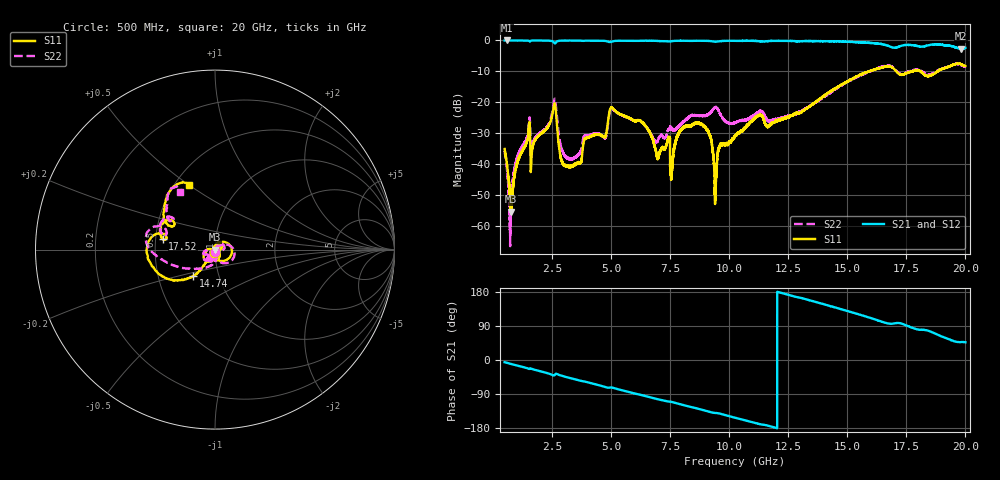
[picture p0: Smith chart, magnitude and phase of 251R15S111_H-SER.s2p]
!{251R15S111}
!Johanson Technology Inc.
!www.johansontechnology.com
!Test Board Conditions:
!Substrate Type  RO4350B
!Substrate Thickness  20 mil
!Substrate Dk  3.66
!TL Type: GCPW
!TL Trace Width  34 mil
!TL Gap  10 mil
!Electrode orientation  Horizontal
!DUT TOPOLOGY	SERIES
!Mounting Pad LxW  26x52 mil
! Created Thu Mar 12 16:47:16 2020
# mhz S ma R 50
! 2 Port Network Data from SP1.SP block
! freq  magS11  angS11  magS21  angS21  magS12  angS12  magS22  angS22
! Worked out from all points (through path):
!   19501 points, 500 MHz to 20 GHz, reference 50 ohm
!   highest |S21| = 0.00 dB at 605 MHz (marker M1); lowest = -2.7 dB at 19.8 GHz (marker M2)
!   group delay of S21, straight-line fit = 43.7 ps
!   lowest |S11| = -55.5 dB at 765 MHz (marker M3), VSWR 1.00, Z = 49.8 - j0.00368 ohm
!   |S11| at or under -10 dB: start of sweep to 15.93 GHz; 17.08 GHz to 17.71 GHz (629.2 MHz wide, 3.62 % of centre); 18.1 GHz to 18.83 GHz (723.5 MHz wide, 3.92 % of centre) (the widest 3 of 9)
!   |S22| runs from -66.7 to -7.5 dB; largest |S21 - S12| = 0.021
!   S11 on the Smith chart (normalised r, x): 500 MHz: 0.99, -0.03; 14.74 GHz: 0.75, -0.23; 17.52 GHz: 0.55, +0.07; 20 GHz: 0.59, +0.50
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500  0.01746 -99.5  0.9987 -5.8  0.9991 -5.7  0.0162 -96.7
605  0.009531 -106.8  0.9996 -7.6  0.9979 -7.7  0.008073 -95.9
765  0.001687 -178.7  0.9981 -10.3  0.9995 -10.3  0.001881 44.5
976  0.008444 96.4  0.9985 -13.8  0.9985 -13.7  0.01093 64.5
1487  0.02667 69.6  0.9949 -22.3  0.9948 -22.3  0.03121 55.0
1683  0.01862 84.7  0.9956 -24.3  0.9959 -24.2  0.02157 40.1
2594  0.09185 6.8  0.9218 -40.9  0.9211 -40.8  0.1062 -2.2
2969  0.009987 -178.4  0.9936 -42.6  0.9938 -42.5  0.0155 -70.2
3750  0.01161 -130.1  0.9889 -55.3  0.9891 -55.3  0.01733 -102.6
4744  0.0273 -123.7  0.9823 -71.0  0.9824 -71.0  0.02613 -135.2
5047  0.08101 -137.1  0.9632 -72.8  0.9625 -72.8  0.07938 -143.7
7000  0.01245 -150.3  0.9793 -103.9  0.9811 -103.9  0.02505 -134.0
8763  0.04432 57.8  0.9871 -129.9  0.9868 -129.8  0.0609 -134.4
9172  0.029 24.9  0.9788 -136.7  0.979 -136.7  0.06541 -127.5
9425  0.004181 -157.6  0.9526 -139.8  0.9546 -139.7  0.08286 -137.7
10250  0.02826 -25.1  0.9874 -152.3  0.987 -152.3  0.04625 -123.8
13500  0.0908 -125.3  0.978 155.9  0.9801 156.0  0.09143 -103.6
14737  0.1911 -128.9  0.9603 134.1  0.9621 134.1  0.1861 -145.3
16750  0.3804 179.2  0.8141 96.2  0.8015 95.9  0.3917 168.0
17522  0.297 168.4  0.8453 90.6  0.8449 90.4  0.3016 164.3
19804  0.4134 115.0  0.7322 47.3  0.7352 47.9  0.3984 120.2
20000  0.3884 112.3  0.7581 46.8  0.7562 47.0  0.3781 121.4
